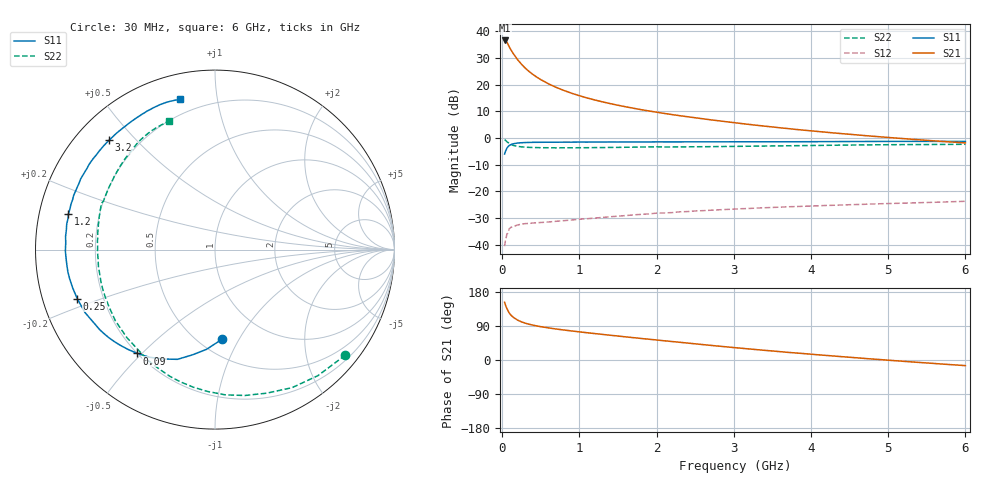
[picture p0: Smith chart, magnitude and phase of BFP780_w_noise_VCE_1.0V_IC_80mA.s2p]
! Infineon Technologies  Discrete & RF Semiconductors
! BFP780
! VCE =  1.0 V,  IC =  80 mA
! Common Emitter S-Parameters:  Jul 2015
# GHz  S  MA  R  50
!  f  S11  S21  S12  S22
! GHz  MAG  ANG  MAG  ANG  MAG  ANG  MAG  ANG
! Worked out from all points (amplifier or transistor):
!   75 points, 30 MHz to 6 GHz, reference 50 ohm
!   highest |S21| = 36.5 dB at 30 MHz (marker M1)
!   |S21| within 3 dB of that: start of sweep to 101.5 MHz
!   unconditionally stable (mu >= 1): 1.763 GHz to end of sweep
!   at 150 MHz: K = 0.14, MSG = 32.2 dB, |S12| = -33.1 dB
!   at 2.3 GHz: K = 1.12, MAG = 15.9 dB, |S12| = -27.7 dB
!   at 6 GHz: K = 1.54, MAG = 6.6 dB, |S12| = -23.7 dB
!   lowest NFmin = 1.80 dB at 450 MHz
!   S11 on the Smith chart (normalised r, x): 30 MHz: 0.64, -0.85; 90 MHz: 0.20, -0.48; 250 MHz: 0.11, -0.17; 1.2 GHz: 0.09, +0.12; 3.2 GHz: 0.10, +0.42; 6 GHz: 0.12, +0.79
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0.03  0.5001 -85.3  67.12 152.2  0.0094 69.8  0.9347 -39.0
0.04  0.5579 -94.9  66.31 145.9  0.0119 59.9  0.9065 -50.8
0.05  0.5997 -102.1  64.71 140.4  0.0136 58.4  0.881 -60.8
0.06  0.6463 -108.9  62.03 135.7  0.0159 50.6  0.8502 -70.2
0.07  0.6741 -115.3  58.4 131.4  0.0164 49.6  0.8297 -78.4
0.09  0.7225 -126.8  51.07 124.1  0.0199 41.8  0.7916 -93.0
0.11  0.7498 -134.6  45.21 118.9  0.0211 35.9  0.7618 -104.6
0.12  0.7602 -137.7  42.84 116.8  0.0213 33.8  0.75 -109.4
0.15  0.782 -145.2  36.76 111.6  0.0221 29.3  0.7208 -121.4
0.2  0.8048 -154.2  29.06 105.1  0.0235 24.7  0.6939 -135.1
0.25  0.8148 -160.4  23.97 100.5  0.0243 22.6  0.6821 -144.5
0.35  0.8259 -168.6  17.47 94.2  0.0251 20.1  0.6662 -156.6
0.5  0.8307 -176.0  12.36 87.9  0.0261 19.2  0.6572 -167.1
0.7  0.8325 177.4  8.841 81.7  0.0275 20.0  0.6535 -175.6
1.1  0.8369 168.1  5.61 71.9  0.0307 22.3  0.657 173.5
1.2  0.8406 166.2  5.146 69.7  0.0316 22.9  0.6604 171.6
2.1  0.845 150.8  2.882 50.7  0.0394 23.3  0.6774 156.5
3.1  0.8481 135.5  1.863 31.0  0.0473 19.6  0.6982 141.3
3.2  0.8482 134.0  1.793 29.1  0.0478 19.3  0.7005 139.9
4.1  0.8533 121.9  1.319 13.6  0.0537 14.6  0.7251 129.0
5.1  0.8639 111.0  0.998 -2.0  0.0596 9.2  0.7487 118.8
6  0.8606 103.2  0.808 -14.9  0.0651 4.1  0.7615 109.7
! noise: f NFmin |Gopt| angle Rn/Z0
0.45  1.8  0.49  -179  0.07
0.9  1.86  0.51  -168  0.08
1.5  1.9  0.53  -160  0.1
1.8  2.09  0.54  -153  0.11
2.4  2.21  0.55  -145  0.16
3  2.48  0.57  -136  0.23
3.5  2.95  0.6  -123  0.36
